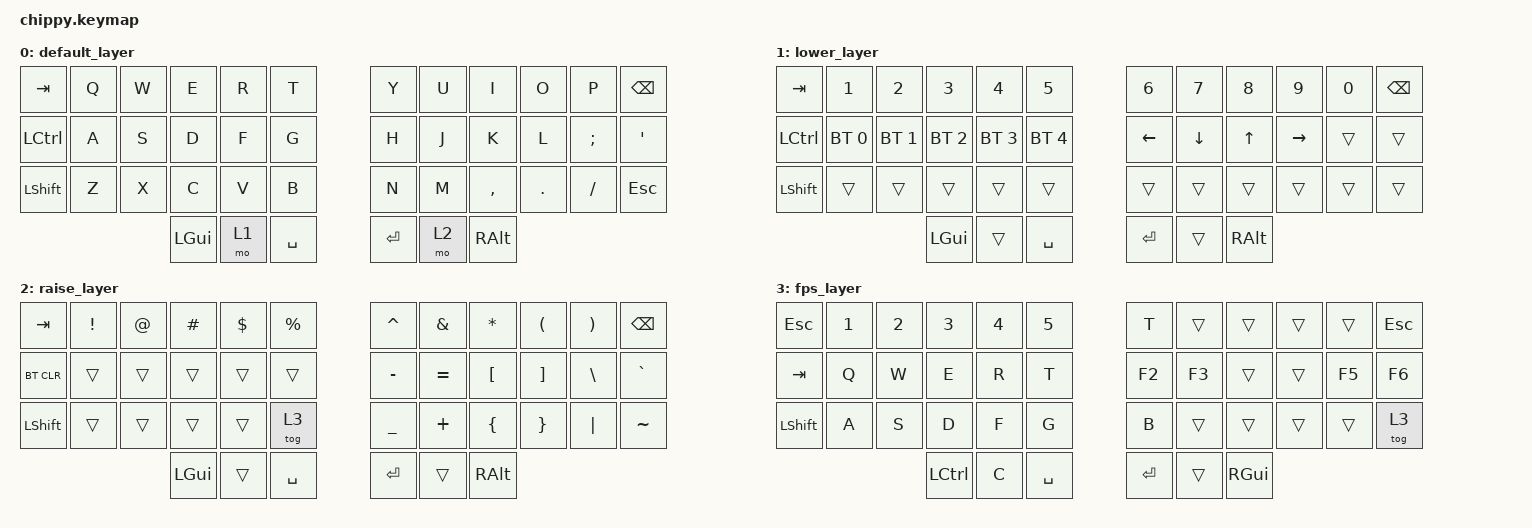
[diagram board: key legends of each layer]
/*
 * Copyright (c) 2020 The ZMK Contributors
 *
 * SPDX-License-Identifier: MIT
 */

#include <behaviors.dtsi>
#include <dt-bindings/zmk/keys.h>
#include <dt-bindings/zmk/bt.h>

/ {
        keymap {
                compatible = "zmk,keymap";

                default_layer {
// -----------------------------------------------------------------------------------------
// |  TAB |  Q  |  W  |  E  |  R  |  T  |   |  Y  |  U   |  I  |  O  |  P  | BSPC |
// | CTRL |  A  |  S  |  D  |  F  |  G  |   |  H  |  J   |  K  |  L  |  ;  |  '   |
// | SHFT |  Z  |  X  |  C  |  V  |  B  |   |  N  |  M   |  ,  |  .  |  /  | ESC  |
//                    | GUI | LWR | SPC |   | ENT | RSE  | ALT |
                        bindings = <
   &kp TAB   &kp Q &kp W &kp E &kp R &kp T   &kp Y &kp U  &kp I     &kp O   &kp P    &kp BSPC
   &kp LCTRL &kp A &kp S &kp D &kp F &kp G   &kp H &kp J  &kp K     &kp L   &kp SEMI &kp SQT
   &kp LSHFT &kp Z &kp X &kp C &kp V &kp B   &kp N &kp M  &kp COMMA &kp DOT &kp FSLH &kp ESC
                  &kp LGUI &mo 1 &kp SPACE   &kp RET &mo 2 &kp RALT
                        >;
                };
                lower_layer {
// -----------------------------------------------------------------------------------------
// |  TAB |  1  |  2  |  3  |  4  |  5  |   |  6  |  7  |  8  |  9  |  0  | BSPC |
// | CTRL | BT1 | BT2 | BT3 | BT4 | BT5 |   | LFT | DWN |  UP | RGT |     |      |
// | SHFT |     |     |     |     |     |   |     |     |     |     |     |      |
//                    | GUI |     | SPC |   | ENT |     | ALT |
                        bindings = <
   &kp TAB   &kp N1       &kp N2       &kp N3       &kp N4       &kp N5         &kp N6   &kp N7   &kp N8 &kp N9    &kp N0 &kp BSPC
   &kp LCTRL &bt BT_SEL 0 &bt BT_SEL 1 &bt BT_SEL 2 &bt BT_SEL 3 &bt BT_SEL 4   &kp LEFT &kp DOWN &kp UP &kp RIGHT &trans &trans
   &kp LSHFT &trans       &trans       &trans       &trans       &trans         &trans   &trans   &trans &trans    &trans &trans
                                    &kp LGUI     &trans       &kp SPACE      &kp RET  &trans   &kp RALT
                        >;
                };

                raise_layer {
// -----------------------------------------------------------------------------------------
// |  TAB |  !  |  @  |  #  |  $  |  %  |   |  ^  |  &  |  *  |  (  |  )  | BSPC |
// | BTCLR|     |     |     |     |     |   |  -  |  =  |  [  |  ]  |  \  |  `   |
// | SHFT |     |     |     |     |     |   |  _  |  +  |  {  |  }  | "|" |  ~   |
//                    | GUI |     | SPC |   | ENT |     | ALT |
                        bindings = <
   &kp  TAB   &kp EXCL &kp AT &kp HASH &kp DLLR &kp PRCNT   &kp CARET &kp AMPS  &kp ASTRK &kp LPAR &kp RPAR &kp BSPC
   &bt BT_CLR &trans   &trans &trans   &trans   &trans      &kp MINUS &kp EQUAL &kp LBKT  &kp RBKT &kp BSLH &kp GRAVE
   &kp LSHFT  &trans   &trans &trans   &trans   &tog 3      &kp UNDER &kp PLUS  &kp LBRC  &kp RBRC &kp PIPE &kp TILDE
                             &kp LGUI &trans   &kp SPACE   &kp RET   &trans    &kp RALT
                        >;
                };
                fps_layer {
// -----------------------------------------------------------------------------------------
// | ESC  |  1  |  2  |  3  |  4  |  5  |   | T |     |     |     |     | ESC   |
// | TAB |  Q  |  W  |  E  |  R  |  T  |    | F2 | F3 |     | F5  | F6  |       |
// | SHFT |  A  |  S  |  D  |  F  |  G  |   | B |    |     |     |     | TOG 0 |
//                    | CTRL  | C  | SPC |   | ENT |     | RGUI |
                        bindings = <
   &kp ESC    &kp N1  &kp N2  &kp N3  &kp N4  &kp N5  &kp T  &trans  &trans  &trans  &trans  &kp ESC
   &kp TAB  &kp Q   &kp W   &kp E   &kp R   &kp T   &kp F2  &kp F3  &trans  &trans  &kp F5  &kp F6
   &kp LSHFT  &kp A   &kp S   &kp D   &kp F   &kp G   &kp B  &trans  &trans  &trans  &trans  &tog 3
                            &kp LCTRL &kp C &kp SPACE     &kp RET &trans &kp RGUI
                        >;

                };
        };
};
